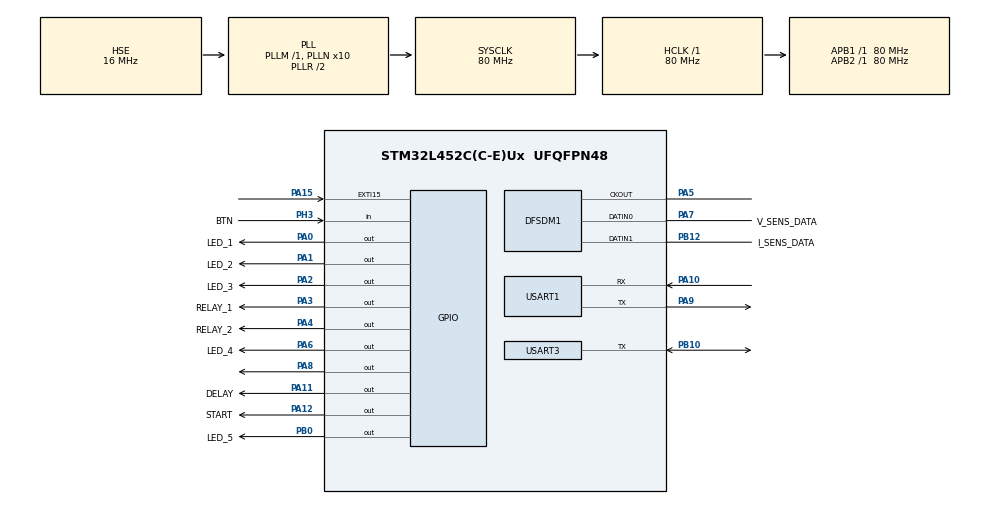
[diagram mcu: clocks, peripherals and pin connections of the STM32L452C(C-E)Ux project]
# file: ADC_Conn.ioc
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DFSDM1.Divider=5
DFSDM1.DmaMode_reg_FIL0=ENABLE
DFSDM1.DmaMode_reg_FIL1=ENABLE
DFSDM1.FastMode_reg_FIL0=ENABLE
DFSDM1.FastMode_reg_FIL1=ENABLE
DFSDM1.FilterOrder_CH0=DFSDM_CHANNEL_FASTSINC_ORDER
DFSDM1.FilterOrder_CH1=DFSDM_CHANNEL_FASTSINC_ORDER
DFSDM1.Filter_regChannel_FIL0=DFSDM_CHANNEL_0
DFSDM1.Filter_regChannel_FIL1=DFSDM_CHANNEL_1
DFSDM1.Fosr_FIL0=256
DFSDM1.Fosr_FIL1=256
DFSDM1.Iosr_FIL0=1
DFSDM1.SincOrder_FIL0=DFSDM_FILTER_SINC3_ORDER
DFSDM1.SincOrder_FIL1=DFSDM_FILTER_SINC3_ORDER
DFSDM1.Type_spi_CH0=DFSDM_CHANNEL_SPI_RISING
DFSDM1.Type_spi_CH1=DFSDM_CHANNEL_SPI_RISING
Dma.DFSDM1_FLT0.2.Direction=DMA_PERIPH_TO_MEMORY
Dma.DFSDM1_FLT0.2.Instance=DMA1_Channel4
Dma.DFSDM1_FLT0.2.MemDataAlignment=DMA_MDATAALIGN_WORD
Dma.DFSDM1_FLT0.2.MemInc=DMA_MINC_ENABLE
Dma.DFSDM1_FLT0.2.Mode=DMA_CIRCULAR
Dma.DFSDM1_FLT0.2.PeriphDataAlignment=DMA_PDATAALIGN_WORD
Dma.DFSDM1_FLT0.2.PeriphInc=DMA_PINC_DISABLE
Dma.DFSDM1_FLT0.2.Priority=DMA_PRIORITY_VERY_HIGH
Dma.DFSDM1_FLT1.3.Direction=DMA_PERIPH_TO_MEMORY
Dma.DFSDM1_FLT1.3.Instance=DMA1_Channel5
Dma.DFSDM1_FLT1.3.MemDataAlignment=DMA_MDATAALIGN_WORD
Dma.DFSDM1_FLT1.3.MemInc=DMA_MINC_ENABLE
Dma.DFSDM1_FLT1.3.Mode=DMA_CIRCULAR
Dma.DFSDM1_FLT1.3.PeriphDataAlignment=DMA_PDATAALIGN_WORD
Dma.DFSDM1_FLT1.3.PeriphInc=DMA_PINC_DISABLE
Dma.DFSDM1_FLT1.3.Priority=DMA_PRIORITY_VERY_HIGH
Dma.Request0=USART1_RX
Dma.Request1=USART1_TX
Dma.Request2=DFSDM1_FLT0
Dma.Request3=DFSDM1_FLT1
Dma.USART1_RX.0.Direction=DMA_PERIPH_TO_MEMORY
Dma.USART1_RX.0.Instance=DMA2_Channel7
Dma.USART1_RX.0.MemDataAlignment=DMA_MDATAALIGN_BYTE
Dma.USART1_RX.0.MemInc=DMA_MINC_ENABLE
Dma.USART1_RX.0.Mode=DMA_NORMAL
Dma.USART1_RX.0.PeriphDataAlignment=DMA_PDATAALIGN_BYTE
Dma.USART1_RX.0.PeriphInc=DMA_PINC_DISABLE
Dma.USART1_RX.0.Priority=DMA_PRIORITY_LOW
Dma.USART1_TX.1.Direction=DMA_MEMORY_TO_PERIPH
Dma.USART1_TX.1.Instance=DMA2_Channel6
Dma.USART1_TX.1.MemDataAlignment=DMA_MDATAALIGN_BYTE
Dma.USART1_TX.1.MemInc=DMA_MINC_ENABLE
Dma.USART1_TX.1.Mode=DMA_NORMAL
Dma.USART1_TX.1.PeriphDataAlignment=DMA_PDATAALIGN_BYTE
Dma.USART1_TX.1.PeriphInc=DMA_PINC_DISABLE
Dma.USART1_TX.1.Priority=DMA_PRIORITY_LOW
FREERTOS.Tasks01=defaultTask,24,512,StartDefaultTask,Default,NULL,Dynamic,NULL,NULL
Mcu.Family=STM32L4
Mcu.Name=STM32L452C(C-E)Ux
Mcu.Package=UFQFPN48
NVIC.DFSDM1_FLT0_IRQn=true\:5\:0\:false\:false\:true\:true\:true\:true\:true
NVIC.DFSDM1_FLT1_IRQn=true\:5\:0\:false\:false\:true\:true\:true\:true\:true
NVIC.DMA1_Channel4_IRQn=true\:5\:0\:false\:false\:true\:true\:false\:true\:true
NVIC.DMA1_Channel5_IRQn=true\:5\:0\:false\:false\:true\:true\:false\:true\:true
NVIC.DMA2_Channel6_IRQn=true\:5\:0\:false\:false\:true\:false\:false\:true\:true
NVIC.DMA2_Channel7_IRQn=true\:5\:0\:false\:false\:true\:false\:false\:true\:true
NVIC.PriorityGroup=NVIC_PRIORITYGROUP_4
NVIC.TIM1_UP_TIM16_IRQn=true\:15\:0\:false\:false\:true\:false\:false\:true\:true
NVIC.TimeBase=TIM1_UP_TIM16_IRQn
NVIC.TimeBaseIP=TIM16
NVIC.USART1_IRQn=true\:5\:0\:false\:false\:true\:true\:false\:true\:true
PA0.GPIO_Label=LED_1
PA0.Signal=GPIO_Output
PA1.GPIO_Label=LED_2
PA1.Signal=GPIO_Output
PA10.Mode=Asynchronous
PA10.Signal=USART1_RX
PA11.GPIO_Label=DELAY
PA11.Signal=GPIO_Output
PA12.GPIO_Label=START
PA12.Signal=GPIO_Output
PA13\ (JTMS/SWDIO).Mode=Trace_Asynchronous_SW
PA13\ (JTMS/SWDIO).Signal=SYS_JTMS-SWDIO
PA14\ (JTCK/SWCLK).Mode=Trace_Asynchronous_SW
PA14\ (JTCK/SWCLK).Signal=SYS_JTCK-SWCLK
PA15\ (JTDI).Signal=GPXTI15
PA2.GPIO_Label=LED_3
PA2.Signal=GPIO_Output
PA3.GPIO_Label=RELAY_1
PA3.GPIO_PuPd=GPIO_PULLDOWN
PA3.Signal=GPIO_Output
PA4.GPIO_Label=RELAY_2
PA4.GPIO_PuPd=GPIO_PULLDOWN
PA4.Signal=GPIO_Output
PA5.GPIO_Speed=GPIO_SPEED_FREQ_VERY_HIGH
PA5.Signal=S_CKOUTDFSDM1
PA6.GPIO_Label=LED_4
PA6.Signal=GPIO_Output
PA7.GPIO_Label=V_SENS_DATA
PA7.Signal=S_DATAIN0DFSDM1
PA8.Signal=GPIO_Output
PA9.Mode=Asynchronous
PA9.Signal=USART1_TX
PB0.GPIO_Label=LED_5
PB0.Signal=GPIO_Output
PB10.Mode=Half_duplex(single_wire_mode)
PB10.Signal=USART3_TX
PB12.GPIO_Label=I_SENS_DATA
PB12.Signal=S_DATAIN1DFSDM1
PB3\ (JTDO/TRACESWO).Mode=Trace_Asynchronous_SW
PB3\ (JTDO/TRACESWO).Signal=SYS_JTDO-SWO
PH0-OSC_IN\ (PH0).Mode=HSE-External-Oscillator
PH0-OSC_IN\ (PH0).Signal=RCC_OSC_IN
PH1-OSC_OUT\ (PH1).Mode=HSE-External-Oscillator
PH1-OSC_OUT\ (PH1).Signal=RCC_OSC_OUT
PH3-BOOT0\ (BOOT0).GPIO_Label=BTN
PH3-BOOT0\ (BOOT0).Signal=GPIO_Input
ProjectManager.HeapSize=0x200
ProjectManager.StackSize=0x400
ProjectManager.TargetToolchain=STM32CubeIDE
RCC.ADCFreq_Value=64000000
RCC.AHBFreq_Value=80000000
RCC.APB1Freq_Value=80000000
RCC.APB1TimFreq_Value=80000000
RCC.APB2Freq_Value=80000000
RCC.APB2TimFreq_Value=80000000
RCC.CortexFreq_Value=80000000
RCC.HCLKFreq_Value=80000000
RCC.HSE_VALUE=16000000
RCC.HSI48_VALUE=48000000
RCC.HSI_VALUE=16000000
RCC.LSE_VALUE=32768
RCC.MSI_VALUE=4000000
RCC.PLLN=10
RCC.PLLSourceVirtual=RCC_PLLSOURCE_HSE
RCC.SYSCLKFreq_VALUE=80000000
RCC.SYSCLKSource=RCC_SYSCLKSOURCE_PLLCLK
RCC.USBFreq_Value=64000000
RCC.VCOOutputFreq_Value=160000000
SH.S_CKOUTDFSDM1.0=DFSDM1_CKOUT,PDM_SPI_input_from_ch0_and_internal_clock
SH.S_CKOUTDFSDM1.1=DFSDM1_CKOUT,PDM_SPI_input_from_ch1_and_internal_clock
SH.S_CKOUTDFSDM1.2=DFSDM1_CKOUT,CKOUT
SH.S_DATAIN0DFSDM1.0=DFSDM1_DATIN0,PDM_SPI_input_from_ch0_and_internal_clock
SH.S_DATAIN1DFSDM1.0=DFSDM1_DATIN1,PDM_SPI_input_from_ch1_and_internal_clock
USART1.VirtualMode-Asynchronous=VM_ASYNC
USART3.VirtualMode-Half_duplex(single_wire_mode)=VM_ASYNC
VP_FREERTOS_VS_CMSIS_V2.Mode=CMSIS_V2
VP_SYS_VS_tim16.Mode=TIM16
VP_TIM15_VS_ClockSourceINT.Mode=Internal
board=custom

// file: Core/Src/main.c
/* USER CODE BEGIN Header */
/**
  ******************************************************************************
  * @file           : main.c
  * @brief          : Main program body
  ******************************************************************************
  * @attention
  *
  * Copyright (c) 2026 STMicroelectronics.
  * All rights reserved.
  *
  * This software is licensed under terms that can be found in the LICENSE file
  * in the root directory of this software component.
  * If no LICENSE file comes with this software, it is provided AS-IS.
  *
  ******************************************************************************
  */
/* USER CODE END Header */
#include "main.h"
#include "cmsis_os.h"

/* USER CODE BEGIN Includes */
#include "stdio.h"
#include "stdbool.h"
#include "modbusDevice.h"
#include "modbusSlave.h"
#include "Registers_handler.h"
/* USER CODE END Includes */

/* USER CODE BEGIN PTD */
#define RX_BUFFER_SIZE 64
#define USART_TIMEOUT 900 // Таймаут в миллисекундах
#define DFSDM_BUFFER_SIZE 128

#define FS_CODE_24       13395000.0f   // 2^23 для 24-битного знакового  13395000 ..8388608.0
#define FS_CODE_A_24     8388608.0f
#define AMC1336_RANGE    1.0f         // ±1 В для AMC1336-Q1
#define AMC1306_RANGE    0.25f        // ±50 мВ для AMC1306 (если используется для тока)
#define DIVIDER_RATIO    862.0f       // (1806+2.1)/2.1
#define SHUNT_RESISTANCE 0.004f       // Сопротивление шунта в Ом (если ток через шунт)

#define REG_VOLTAGE    1
#define REG_CURRENT    2
#define REG_POWER      3

#define REG_DFSDM_VOLT_L   4
#define REG_DFSDM_VOLT_H   5
#define REG_DFSDM_CURR_L   6
#define REG_DFSDM_CURR_H   7

/* USER CODE END PTD */

DFSDM_Filter_HandleTypeDef hdfsdm1_filter0;
DFSDM_Filter_HandleTypeDef hdfsdm1_filter1;
DFSDM_Channel_HandleTypeDef hdfsdm1_channel0;
DFSDM_Channel_HandleTypeDef hdfsdm1_channel1;
DMA_HandleTypeDef hdma_dfsdm1_flt0;
DMA_HandleTypeDef hdma_dfsdm1_flt1;

TIM_HandleTypeDef htim15;

UART_HandleTypeDef huart1;
UART_HandleTypeDef huart3;
DMA_HandleTypeDef hdma_usart1_rx;
DMA_HandleTypeDef hdma_usart1_tx;

/* Definitions for defaultTask */
osThreadId_t defaultTaskHandle;
const osThreadAttr_t defaultTask_attributes = {
  .name = "defaultTask",
  .stack_size = 512 * 4,
  .priority = (osPriority_t) osPriorityNormal,
};
/* USER CODE BEGIN PV */
uint32_t lastActivityTime = 0;
 bool usartBusy = false;
 uint8_t rxFrame[128]={0,};
 uint8_t txFrame[128]={0,};
 uint8_t SLAVE_ID=2;
 uint16_t data_reg[32]={0,};
 uint16_t rcv_data_reg[32]={0,};

 volatile int32_t dfsdm_value0 = 0;
 volatile int32_t dfsdm_value1 = 0;
 volatile int32_t dfsdm_raw0 = 0;
 volatile int32_t dfsdm_raw1 = 0;

 int32_t dfsdm_buffer0[DFSDM_BUFFER_SIZE];
 int32_t dfsdm_buffer1[DFSDM_BUFFER_SIZE];

 volatile float voltage_V = 0.0f;
 volatile float current_A = 0.0f;
 volatile float power_W   = 0.0f;

 float voltage_offset = 0.04f;
 float current_offset = 0.483f;

 float voltage_gain = 1.0f;
 float current_gain = 1.0f;

/* USER CODE END PV */

void SystemClock_Config(void);
static void MX_GPIO_Init(void);
static void MX_DMA_Init(void);
static void MX_DFSDM1_Init(void);
static void MX_USART1_UART_Init(void);
static void MX_USART3_UART_Init(void);
static void MX_TIM15_Init(void);
void StartDefaultTask(void *argument);

/* USER CODE BEGIN PFP */
void Check_USART1_Timeout(void);
void Reset_USART1(void);
int _write(int file, char *ptr, int len);
static int32_t DFSDM_Average(const int32_t *buffer, uint32_t size);
/* USER CODE END PFP */

/* USER CODE BEGIN 0 */
static void DFSDM_ToRegisters(int32_t value, uint16_t *reg_low,uint16_t *reg_high)
{
    uint32_t u = (uint32_t)value;
    *reg_low  = (uint16_t)(u & 0xFFFF);
    *reg_high = (uint16_t)((u >> 16) & 0xFFFF);
}
/* USER CODE END 0 */

int main(void)
{

  /* MCU Configuration--------------------------------------------------------*/

  /* Reset of all peripherals, Initializes the Flash interface and the Systick. */
  HAL_Init();

  /* Configure the system clock */
  SystemClock_Config();

  /* Initialize all configured peripherals */
  MX_GPIO_Init();
  MX_DMA_Init();
  MX_DFSDM1_Init();
  MX_USART1_UART_Init();
  MX_USART3_UART_Init();
  MX_TIM15_Init();
  /* USER CODE BEGIN 2 */

  // 1. Включить тактирование отладки

  // 2. Разрешить трассировку (TRCENA)
  CoreDebug->DEMCR |= CoreDebug_DEMCR_TRCENA_Msk;

  // Настроить пин PB3 как SWO (AF0)
  GPIO_InitTypeDef gpioInit = {0};
  __HAL_RCC_GPIOB_CLK_ENABLE();
  gpioInit.Pin = GPIO_PIN_3;
  gpioInit.Mode = GPIO_MODE_AF_PP;
  gpioInit.Pull = GPIO_NOPULL;
  gpioInit.Speed = GPIO_SPEED_FREQ_HIGH;
  gpioInit.Alternate = 0; // AF0 для SWO
  HAL_GPIO_Init(GPIOB, &gpioInit);

  // Настроить предделитель SWO
  ITM->TCR = (ITM->TCR & ~ITM_TCR_TSPrescale_Msk) | (15 << 8);
  ITM->TCR |= ITM_TCR_ITMENA_Msk;
  ITM->TER |= 1;

  // 5. Тест
  ITM_SendChar('S');
  ITM_SendChar('W');
  ITM_SendChar('O');
  ITM_SendChar('\r');
  ITM_SendChar('\n');

  HAL_DFSDM_FilterRegularStart_DMA(
      &hdfsdm1_filter0,
      dfsdm_buffer0,
      DFSDM_BUFFER_SIZE
  );

  HAL_DFSDM_FilterRegularStart_DMA(
      &hdfsdm1_filter1,
      dfsdm_buffer1,
      DFSDM_BUFFER_SIZE
  );

  RELAY_1_ON;
  DELAY_1_ON;

  HAL_Delay(500);
  RELAY_2_ON;
  START_1_ON;
  HAL_Delay(500);
  LED_1_ON;
  LED_2_ON;
  LED_3_ON;
  LED_4_ON;
  LED_5_ON;
  TX_2;
  HAL_Delay(500);

  LED_1_OFF;
  LED_2_OFF;
  LED_3_OFF;
  LED_4_OFF;
  LED_5_OFF;
  RX_2;

  RELAY_1_OFF;
  DELAY_1_OFF;
  HAL_Delay(500);
  RELAY_2_OFF;
  START_1_OFF;
  HAL_Delay(500);
  /* USER CODE END 2 */

  /* Init scheduler */
  osKernelInitialize();

  /* Create the thread(s) */
  /* creation of defaultTask */
  defaultTaskHandle = osThreadNew(StartDefaultTask, NULL, &defaultTask_attributes);

  /* Start scheduler */
  osKernelStart();

  /* We should never get here as control is now taken by the scheduler */

  /* Infinite loop */
  while (1)
  {

  }
}

void SystemClock_Config(void)
{
  RCC_OscInitTypeDef RCC_OscInitStruct = {0};
  RCC_ClkInitTypeDef RCC_ClkInitStruct = {0};

  /** Configure the main internal regulator output voltage
  */
  if (HAL_PWREx_ControlVoltageScaling(PWR_REGULATOR_VOLTAGE_SCALE1) != HAL_OK)
  {
    Error_Handler();
  }

  /** Initializes the RCC Oscillators according to the specified parameters
  * in the RCC_OscInitTypeDef structure.
  */
  RCC_OscInitStruct.OscillatorType = RCC_OSCILLATORTYPE_HSE;
  RCC_OscInitStruct.HSEState = RCC_HSE_ON;
  RCC_OscInitStruct.PLL.PLLState = RCC_PLL_ON;
  RCC_OscInitStruct.PLL.PLLSource = RCC_PLLSOURCE_HSE;
  RCC_OscInitStruct.PLL.PLLM = 1;
  RCC_OscInitStruct.PLL.PLLN = 10;
  RCC_OscInitStruct.PLL.PLLP = RCC_PLLP_DIV7;
  RCC_OscInitStruct.PLL.PLLQ = RCC_PLLQ_DIV2;
  RCC_OscInitStruct.PLL.PLLR = RCC_PLLR_DIV2;
  if (HAL_RCC_OscConfig(&RCC_OscInitStruct) != HAL_OK)
  {
    Error_Handler();
  }

  /** Initializes the CPU, AHB and APB buses clocks
  */
  RCC_ClkInitStruct.ClockType = RCC_CLOCKTYPE_HCLK|RCC_CLOCKTYPE_SYSCLK
                              |RCC_CLOCKTYPE_PCLK1|RCC_CLOCKTYPE_PCLK2;
  RCC_ClkInitStruct.SYSCLKSource = RCC_SYSCLKSOURCE_PLLCLK;
  RCC_ClkInitStruct.AHBCLKDivider = RCC_SYSCLK_DIV1;
  RCC_ClkInitStruct.APB1CLKDivider = RCC_HCLK_DIV1;
  RCC_ClkInitStruct.APB2CLKDivider = RCC_HCLK_DIV1;

  if (HAL_RCC_ClockConfig(&RCC_ClkInitStruct, FLASH_LATENCY_4) != HAL_OK)
  {
    Error_Handler();
  }
}

static void MX_DFSDM1_Init(void)
{

  hdfsdm1_filter0.Instance = DFSDM1_Filter0;
  hdfsdm1_filter0.Init.RegularParam.Trigger = DFSDM_FILTER_SW_TRIGGER;
  hdfsdm1_filter0.Init.RegularParam.FastMode = ENABLE;
  hdfsdm1_filter0.Init.RegularParam.DmaMode = ENABLE;
  hdfsdm1_filter0.Init.FilterParam.SincOrder = DFSDM_FILTER_SINC3_ORDER;
  hdfsdm1_filter0.Init.FilterParam.Oversampling = 256;
  hdfsdm1_filter0.Init.FilterParam.IntOversampling = 1;
  if (HAL_DFSDM_FilterInit(&hdfsdm1_filter0) != HAL_OK)
  {
    Error_Handler();
  }
  hdfsdm1_filter1.Instance = DFSDM1_Filter1;
  hdfsdm1_filter1.Init.RegularParam.Trigger = DFSDM_FILTER_SW_TRIGGER;
  hdfsdm1_filter1.Init.RegularParam.FastMode = ENABLE;
  hdfsdm1_filter1.Init.RegularParam.DmaMode = ENABLE;
  hdfsdm1_filter1.Init.FilterParam.SincOrder = DFSDM_FILTER_SINC3_ORDER;
  hdfsdm1_filter1.Init.FilterParam.Oversampling = 256;
  hdfsdm1_filter1.Init.FilterParam.IntOversampling = 1;
  if (HAL_DFSDM_FilterInit(&hdfsdm1_filter1) != HAL_OK)
  {
    Error_Handler();
  }
  hdfsdm1_channel0.Instance = DFSDM1_Channel0;
  hdfsdm1_channel0.Init.OutputClock.Activation = ENABLE;
  hdfsdm1_channel0.Init.OutputClock.Selection = DFSDM_CHANNEL_OUTPUT_CLOCK_SYSTEM;
  hdfsdm1_channel0.Init.OutputClock.Divider = 5;
  hdfsdm1_channel0.Init.Input.Multiplexer = DFSDM_CHANNEL_EXTERNAL_INPUTS;
  hdfsdm1_channel0.Init.Input.DataPacking = DFSDM_CHANNEL_STANDARD_MODE;
  hdfsdm1_channel0.Init.Input.Pins = DFSDM_CHANNEL_SAME_CHANNEL_PINS;
  hdfsdm1_channel0.Init.SerialInterface.Type = DFSDM_CHANNEL_SPI_RISING;
  hdfsdm1_channel0.Init.SerialInterface.SpiClock = DFSDM_CHANNEL_SPI_CLOCK_INTERNAL;
  hdfsdm1_channel0.Init.Awd.FilterOrder = DFSDM_CHANNEL_FASTSINC_ORDER;
  hdfsdm1_channel0.Init.Awd.Oversampling = 1;
  hdfsdm1_channel0.Init.Offset = 0;
  hdfsdm1_channel0.Init.RightBitShift = 0x00;
  if (HAL_DFSDM_ChannelInit(&hdfsdm1_channel0) != HAL_OK)
  {
    Error_Handler();
  }
  hdfsdm1_channel1.Instance = DFSDM1_Channel1;
  hdfsdm1_channel1.Init.OutputClock.Activation = ENABLE;
  hdfsdm1_channel1.Init.OutputClock.Selection = DFSDM_CHANNEL_OUTPUT_CLOCK_SYSTEM;
  hdfsdm1_channel1.Init.OutputClock.Divider = 5;
  hdfsdm1_channel1.Init.Input.Multiplexer = DFSDM_CHANNEL_EXTERNAL_INPUTS;
  hdfsdm1_channel1.Init.Input.DataPacking = DFSDM_CHANNEL_STANDARD_MODE;
  hdfsdm1_channel1.Init.Input.Pins = DFSDM_CHANNEL_SAME_CHANNEL_PINS;
  hdfsdm1_channel1.Init.SerialInterface.Type = DFSDM_CHANNEL_SPI_RISING;
  hdfsdm1_channel1.Init.SerialInterface.SpiClock = DFSDM_CHANNEL_SPI_CLOCK_INTERNAL;
  hdfsdm1_channel1.Init.Awd.FilterOrder = DFSDM_CHANNEL_FASTSINC_ORDER;
  hdfsdm1_channel1.Init.Awd.Oversampling = 1;
  hdfsdm1_channel1.Init.Offset = 0;
  hdfsdm1_channel1.Init.RightBitShift = 0x00;
  if (HAL_DFSDM_ChannelInit(&hdfsdm1_channel1) != HAL_OK)
  {
    Error_Handler();
  }
  if (HAL_DFSDM_FilterConfigRegChannel(&hdfsdm1_filter0, DFSDM_CHANNEL_0, DFSDM_CONTINUOUS_CONV_ON) != HAL_OK)
  {
    Error_Handler();
  }
  if (HAL_DFSDM_FilterConfigRegChannel(&hdfsdm1_filter1, DFSDM_CHANNEL_1, DFSDM_CONTINUOUS_CONV_ON) != HAL_OK)
  {
    Error_Handler();
  }

}

static void MX_TIM15_Init(void)
{

  TIM_ClockConfigTypeDef sClockSourceConfig = {0};
  TIM_MasterConfigTypeDef sMasterConfig = {0};

  htim15.Instance = TIM15;
  htim15.Init.Prescaler = 0;
  htim15.Init.CounterMode = TIM_COUNTERMODE_UP;
  htim15.Init.Period = 65535;
  htim15.Init.ClockDivision = TIM_CLOCKDIVISION_DIV1;
  htim15.Init.RepetitionCounter = 0;
  htim15.Init.AutoReloadPreload = TIM_AUTORELOAD_PRELOAD_DISABLE;
  if (HAL_TIM_Base_Init(&htim15) != HAL_OK)
  {
    Error_Handler();
  }
  sClockSourceConfig.ClockSource = TIM_CLOCKSOURCE_INTERNAL;
  if (HAL_TIM_ConfigClockSource(&htim15, &sClockSourceConfig) != HAL_OK)
  {
    Error_Handler();
  }
  sMasterConfig.MasterOutputTrigger = TIM_TRGO_RESET;
  sMasterConfig.MasterSlaveMode = TIM_MASTERSLAVEMODE_DISABLE;
  if (HAL_TIMEx_MasterConfigSynchronization(&htim15, &sMasterConfig) != HAL_OK)
  {
    Error_Handler();
  }

}

static void MX_USART1_UART_Init(void)
{

  huart1.Instance = USART1;
  huart1.Init.BaudRate = 115200;
  huart1.Init.WordLength = UART_WORDLENGTH_8B;
  huart1.Init.StopBits = UART_STOPBITS_1;
  huart1.Init.Parity = UART_PARITY_NONE;
  huart1.Init.Mode = UART_MODE_TX_RX;
  huart1.Init.HwFlowCtl = UART_HWCONTROL_NONE;
  huart1.Init.OverSampling = UART_OVERSAMPLING_16;
  huart1.Init.OneBitSampling = UART_ONE_BIT_SAMPLE_DISABLE;
  huart1.AdvancedInit.AdvFeatureInit = UART_ADVFEATURE_NO_INIT;
  if (HAL_UART_Init(&huart1) != HAL_OK)
  {
    Error_Handler();
  }

}

static void MX_USART3_UART_Init(void)
{

  huart3.Instance = USART3;
  huart3.Init.BaudRate = 115200;
  huart3.Init.WordLength = UART_WORDLENGTH_8B;
  huart3.Init.StopBits = UART_STOPBITS_1;
  huart3.Init.Parity = UART_PARITY_NONE;
  huart3.Init.Mode = UART_MODE_TX_RX;
  huart3.Init.HwFlowCtl = UART_HWCONTROL_NONE;
  huart3.Init.OverSampling = UART_OVERSAMPLING_16;
  huart3.Init.OneBitSampling = UART_ONE_BIT_SAMPLE_DISABLE;
  huart3.AdvancedInit.AdvFeatureInit = UART_ADVFEATURE_NO_INIT;
  if (HAL_HalfDuplex_Init(&huart3) != HAL_OK)
  {
    Error_Handler();
  }

}

static void MX_DMA_Init(void)
{

  /* DMA controller clock enable */
  __HAL_RCC_DMA2_CLK_ENABLE();
  __HAL_RCC_DMA1_CLK_ENABLE();

  /* DMA interrupt init */
  /* DMA1_Channel4_IRQn interrupt configuration */
  HAL_NVIC_SetPriority(DMA1_Channel4_IRQn, 5, 0);
  HAL_NVIC_EnableIRQ(DMA1_Channel4_IRQn);
  /* DMA1_Channel5_IRQn interrupt configuration */
  HAL_NVIC_SetPriority(DMA1_Channel5_IRQn, 5, 0);
  HAL_NVIC_EnableIRQ(DMA1_Channel5_IRQn);
  /* DMA2_Channel6_IRQn interrupt configuration */
  HAL_NVIC_SetPriority(DMA2_Channel6_IRQn, 5, 0);
  HAL_NVIC_EnableIRQ(DMA2_Channel6_IRQn);
  /* DMA2_Channel7_IRQn interrupt configuration */
  HAL_NVIC_SetPriority(DMA2_Channel7_IRQn, 5, 0);
  HAL_NVIC_EnableIRQ(DMA2_Channel7_IRQn);

}

static void MX_GPIO_Init(void)
{
  GPIO_InitTypeDef GPIO_InitStruct = {0};

  /* GPIO Ports Clock Enable */
  __HAL_RCC_GPIOH_CLK_ENABLE();
  __HAL_RCC_GPIOA_CLK_ENABLE();
  __HAL_RCC_GPIOB_CLK_ENABLE();

  /*Configure GPIO pin Output Level */
  HAL_GPIO_WritePin(GPIOA, LED_1_Pin|LED_2_Pin|LED_3_Pin|RELAY_1_Pin
                          |RELAY_2_Pin|LED_4_Pin|GPIO_PIN_8|DELAY_Pin
                          |START_Pin, GPIO_PIN_RESET);

  /*Configure GPIO pin Output Level */
  HAL_GPIO_WritePin(LED_5_GPIO_Port, LED_5_Pin, GPIO_PIN_RESET);

  /*Configure GPIO pins : LED_1_Pin LED_2_Pin LED_3_Pin LED_4_Pin
                           PA8 DELAY_Pin START_Pin */
  GPIO_InitStruct.Pin = LED_1_Pin|LED_2_Pin|LED_3_Pin|LED_4_Pin
                          |GPIO_PIN_8|DELAY_Pin|START_Pin;
  GPIO_InitStruct.Mode = GPIO_MODE_OUTPUT_PP;
  GPIO_InitStruct.Pull = GPIO_NOPULL;
  GPIO_InitStruct.Speed = GPIO_SPEED_FREQ_LOW;
  HAL_GPIO_Init(GPIOA, &GPIO_InitStruct);

  /*Configure GPIO pins : RELAY_1_Pin RELAY_2_Pin */
  GPIO_InitStruct.Pin = RELAY_1_Pin|RELAY_2_Pin;
  GPIO_InitStruct.Mode = GPIO_MODE_OUTPUT_PP;
  GPIO_InitStruct.Pull = GPIO_PULLDOWN;
  GPIO_InitStruct.Speed = GPIO_SPEED_FREQ_LOW;
  HAL_GPIO_Init(GPIOA, &GPIO_InitStruct);

  /*Configure GPIO pin : LED_5_Pin */
  GPIO_InitStruct.Pin = LED_5_Pin;
  GPIO_InitStruct.Mode = GPIO_MODE_OUTPUT_PP;
  GPIO_InitStruct.Pull = GPIO_NOPULL;
  GPIO_InitStruct.Speed = GPIO_SPEED_FREQ_LOW;
  HAL_GPIO_Init(LED_5_GPIO_Port, &GPIO_InitStruct);

  /*Configure GPIO pin : PA15 */
  GPIO_InitStruct.Pin = GPIO_PIN_15;
  GPIO_InitStruct.Mode = GPIO_MODE_IT_RISING;
  GPIO_InitStruct.Pull = GPIO_NOPULL;
  HAL_GPIO_Init(GPIOA, &GPIO_InitStruct);

  /*Configure GPIO pin : BTN_Pin */
  GPIO_InitStruct.Pin = BTN_Pin;
  GPIO_InitStruct.Mode = GPIO_MODE_INPUT;
  GPIO_InitStruct.Pull = GPIO_NOPULL;
  HAL_GPIO_Init(BTN_GPIO_Port, &GPIO_InitStruct);

}

/* USER CODE BEGIN 4 */

void Reset_USART1(void) {
    // Включить индикатор (если требуется)
    LED_4_ON;

    // Остановить передачу и прием по DMA
    if (HAL_UART_DMAStop(&huart1) != HAL_OK) {
        // Обработка ошибки
    }

    // Прерывание активных DMA транзакций
    if (hdma_usart1_rx.Instance != NULL) {
        HAL_DMA_Abort(&hdma_usart1_rx);
    }
    if (hdma_usart1_tx.Instance != NULL) {
        HAL_DMA_Abort(&hdma_usart1_tx);
    }

    // Отключить все прерывания UART
    __HAL_UART_DISABLE_IT(&huart1, UART_IT_IDLE | UART_IT_TC | UART_IT_RXNE);

    // Сбросить флаги ошибок UART
    __HAL_UART_CLEAR_OREFLAG(&huart1);
    __HAL_UART_CLEAR_FEFLAG(&huart1);

    // Сбросить периферийный модуль USART1
    __HAL_RCC_USART1_FORCE_RESET();
    HAL_Delay(1); // Задержка для завершения сброса
    __HAL_RCC_USART1_RELEASE_RESET();

    // Деинициализация UART
    if (HAL_UART_DeInit(&huart1) != HAL_OK) {
        // Обработка ошибки
    }

    // Повторная инициализация UART
    MX_USART1_UART_Init();

    // Повторная настройка DMA
    MX_DMA_Init();

    // Настройка UART для приема данных с использованием DMA
    if (HAL_UARTEx_ReceiveToIdle_DMA(&huart1, rxFrame, RX_BUFFER_SIZE) != HAL_OK) {
        // Обработка ошибки
    }
    __HAL_DMA_DISABLE_IT(&hdma_usart1_rx, DMA_IT_HT);

    // Сброс параметров и таймеров
    lastActivityTime = HAL_GetTick();
    LED_4_OFF;

}

void Check_USART1_Timeout(void)
 {
     if (HAL_GetTick() - lastActivityTime >= USART_TIMEOUT)
     {
         Reset_USART1();
         RX_2;
     }
 }

void HAL_UART_TxCpltCallback(UART_HandleTypeDef *huart)

{
	    RX_2;
	    lastActivityTime = HAL_GetTick();
	    HAL_UARTEx_ReceiveToIdle_DMA(&huart1, rxFrame,RX_BUFFER_SIZE);
	    __HAL_UART_ENABLE_IT(&huart1, UART_IT_IDLE);
	    __HAL_DMA_DISABLE_IT(&hdma_usart1_rx, DMA_IT_HT);
       LED_4_OFF;
}

void HAL_UARTEx_RxEventCallback(UART_HandleTypeDef *huart, uint16_t Size)
{
	if (huart->Instance == USART1)
	{

		lastActivityTime = HAL_GetTick();
	    __HAL_UART_DISABLE_IT(&huart1, UART_IT_IDLE);
	    HAL_DMA_Abort(&hdma_usart1_rx);
	    Registers_handler(rxFrame, data_reg, rcv_data_reg,Size);

	}
}

void HAL_DFSDM_FilterRegConvCpltCallback(
    DFSDM_Filter_HandleTypeDef *hdfsdm_filter)
{
    if (hdfsdm_filter == &hdfsdm1_filter0) {
        dfsdm_value0 = DFSDM_Average(dfsdm_buffer0, DFSDM_BUFFER_SIZE);
    }
    else if (hdfsdm_filter == &hdfsdm1_filter1) {
        dfsdm_value1 = DFSDM_Average(dfsdm_buffer1, DFSDM_BUFFER_SIZE);
    }
}

static int32_t DFSDM_Average(const int32_t *buffer, uint32_t size)
{
    int64_t sum = 0;

    for (uint32_t i = 0; i < size; ++i) {
        // signed 24-bit data расположены в [31:8]
        sum += buffer[i] >> 8;
      //  sum += buffer[i] ;
    }

    return (int32_t)(sum / (int64_t)size);
}

int _write(int file, char *ptr, int len)
{
    for (int i = 0; i < len; i++)
    {
        ITM_SendChar((uint32_t)ptr[i]);
    }

    return len;
}

/* USER CODE END 4 */

void StartDefaultTask(void *argument)
{
  /* USER CODE BEGIN 5 */
  /* Infinite loop */
	 for(;;)
	    {
	        // 1. Захватываем текущие значения (атомарно, без прерываний)
	        int32_t adc_voltage = dfsdm_value0;
	        int32_t adc_current = dfsdm_value1;

	        // 2. Преобразование напряжения
	        float volt_adc = ((float)adc_voltage / FS_CODE_24) * AMC1336_RANGE;
	        voltage_V = (volt_adc* voltage_gain * DIVIDER_RATIO) - voltage_offset;

	        // 3. Преобразование тока
	        float curr_adc = ((float)adc_current / FS_CODE_24) * AMC1306_RANGE;
	        current_A = (curr_adc * current_gain / SHUNT_RESISTANCE )- current_offset;

	        // 4. Мощность
	        power_W = voltage_V * current_A;

	        // 5. Заполняем регистры (все из одних и тех же данных)
	       // data_reg[REG_VOLTAGE] = 0x1234;
	       // data_reg[REG_CURRENT] = 0x5678;
	       // data_reg[REG_POWER]   = 0x9ABC;
	        data_reg[REG_VOLTAGE] = (uint16_t)(voltage_V * 10.0f);
	        data_reg[REG_CURRENT] = (uint16_t)(current_A * 100.0f);
	        data_reg[REG_POWER]   = (uint16_t)(power_W);

	        DFSDM_ToRegisters(adc_voltage, &data_reg[REG_DFSDM_VOLT_L], &data_reg[REG_DFSDM_VOLT_H]);
	        DFSDM_ToRegisters(adc_current, &data_reg[REG_DFSDM_CURR_L], &data_reg[REG_DFSDM_CURR_H]);

	        printf("RAW0=%ld VALUE0=%ld RAW1=%ld VALUE1=%ld\r\n",dfsdm_raw0,dfsdm_value0,dfsdm_raw1, dfsdm_value1);

	        printf("Volts=%.3f Amps=%.3f\r\n", voltage_V, current_A);
	        Check_USART1_Timeout();
	        osDelay(500);
	    }
  /* USER CODE END 5 */
}

void HAL_TIM_PeriodElapsedCallback(TIM_HandleTypeDef *htim)
{
  if (htim->Instance == TIM16)
  {
    HAL_IncTick();
  }
}

void Error_Handler(void)
{
  /* USER CODE BEGIN Error_Handler_Debug */
  /* User can add his own implementation to report the HAL error return state */
  __disable_irq();
  while (1)
  {
	  LED_4_ON;
  }
  /* USER CODE END Error_Handler_Debug */
}
